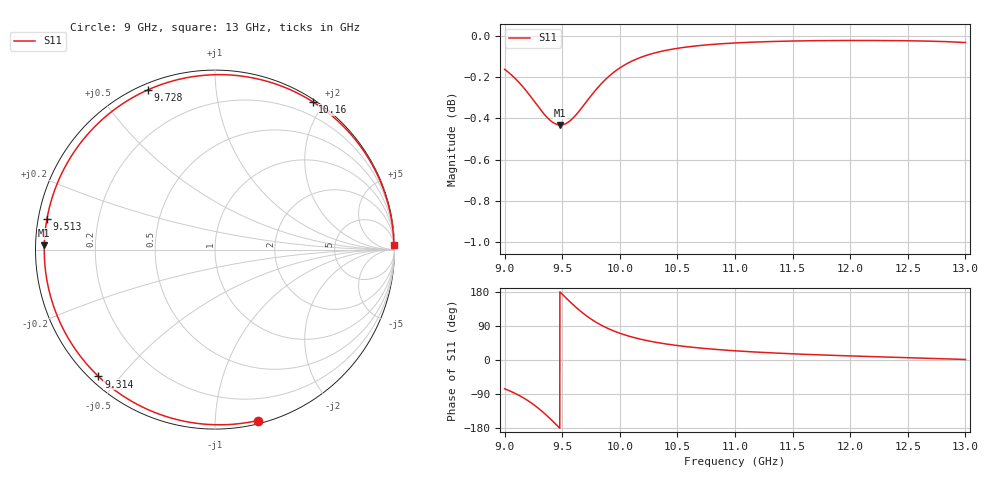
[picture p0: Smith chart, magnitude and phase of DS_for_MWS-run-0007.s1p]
! TOUCHSTONE file generated by CST DESIGN STUDIO
! Date and time: Tue Feb  4 13:17:43 2025
! Project name: C:\Work\MatlabApps\UnitCellOptimizationMatlab\CST\unitcell.cst
! Tree item: Tasks\Sweep1\SPara1\S-Parameters
! Header version: 2024
! Port assignment regex: !\s*Touchstone port\s*([0-9]+)\s*=\s*(CST MWS port|CST DES external port|CST DES block port)\s*(.+)\s* \(\"(.*)\"\)(\s*mode\s*([0-9]+))?.*
! Touchstone port assignment:
! Touchstone port 1 = CST DES external port 1 ("")
# GHz S MA R 50
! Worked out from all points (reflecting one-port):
!   4001 points, 9 GHz to 13 GHz, reference 50 ohm
!   lowest |S11| = -0.4 dB at 9.484 GHz (marker M1), VSWR 40.21, Z = 1.24 + j0.631 ohm
!   phase of S11 starts at -76 deg and turns -283 deg over the sweep
!   S11 on the Smith chart (normalised r, x): 9 GHz: 0.02, -1.28; 9.314 GHz: 0.02, -0.44; 9.513 GHz: 0.02, +0.09; 9.728 GHz: 0.03, +0.67; 10.16 GHz: 0.03, +1.86; 13 GHz: 11, +78
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9  0.9816 -76.0
9.081  0.9772 -86.6
9.18  0.9704 -102.9
9.25  0.9648 -117.3
9.314  0.9595 -132.6
9.359  0.9562 -144.6
9.406  0.9534 -158.0
9.446  0.9519 -169.9
9.484  0.9515 178.6
9.5  0.9516 173.7
9.513  0.9517 169.7
9.565  0.9536 154.3
9.624  0.9572 137.8
9.675  0.9611 124.8
9.728  0.9654 112.7
9.782  0.9696 101.9
9.842  0.9739 91.4
9.919  0.9785 80.2
10  0.9823 70.6
10.158  0.9876 56.5
10.313  0.9908 46.7
10.5  0.9932 38.1
10.722  0.9949 30.8
11  0.9962 24.3
11.5  0.9973 16.3
12  0.9976 10.7
12.5  0.9974 6.1
13  0.9964 1.4
